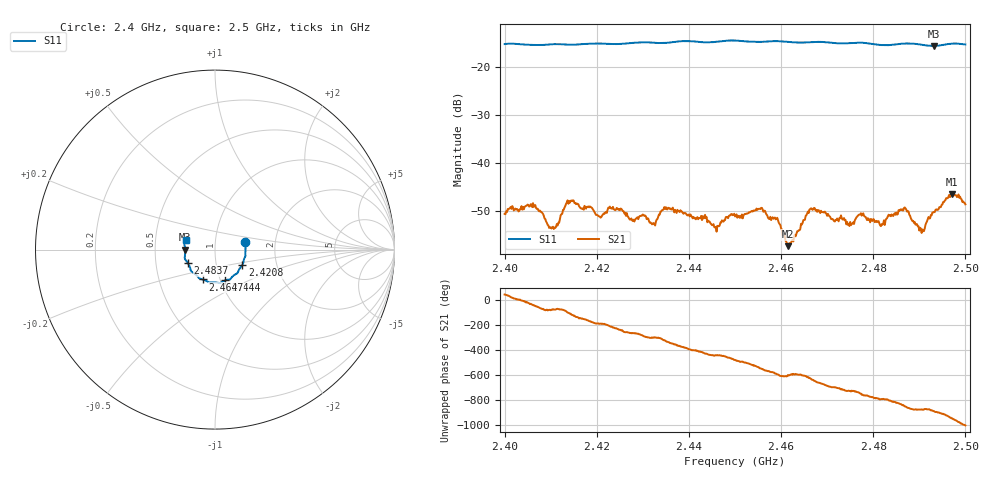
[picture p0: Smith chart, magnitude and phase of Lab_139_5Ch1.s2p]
# Hz S RI R 50
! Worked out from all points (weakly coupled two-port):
!   601 points, 2.4 GHz to 2.5 GHz, reference 50 ohm
!   highest |S21| = -46.61 dB at 2.4972 GHz (marker M1); lowest = -57.4 dB at 2.4615 GHz (marker M2)
!   lowest |S11| = -15.6 dB at 2.4932 GHz (marker M3), VSWR 1.40, Z = 35.8 - j0.0905 ohm
!   |S11| at or under -10 dB: start of sweep to end of sweep
!   S12 and S22 are empty: the file has one direction only
!   S11 on the Smith chart (normalised r, x): 2.4 GHz: 1.40, +0.12; 2.4208 GHz: 1.33, -0.24; 2.444 GHz: 1.06, -0.37; 2.4647 GHz: 0.83, -0.29; 2.4837 GHz: 0.73, -0.11; 2.5 GHz: 0.72, +0.08
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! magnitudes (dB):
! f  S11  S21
! 2.4 GHz  -15.2  -50.7
! 2.4062 GHz  -15.4  -48.4
! 2.4107 GHz  -15.3  -53.8
! 2.4138 GHz  -15.4  -48.6
! 2.4167 GHz  -15.3  -49.6
! 2.4208 GHz  -15.1  -51.5
! 2.4333 GHz  -15.0  -51.3
! 2.444 GHz  -14.9  -52.4
! 2.45 GHz  -14.5  -51.2
! 2.456 GHz  -14.8  -49.8
! 2.4592 GHz  -14.6  -51.5
! 2.4615 GHz  -14.8  -57.4
! 2.4647 GHz  -14.9  -52.6
! 2.4667 GHz  -14.8  -49.6
! 2.475 GHz  -15.0  -52.4
! 2.4833 GHz  -15.5  -50.9
! 2.4837 GHz  -15.4  -50.9
! 2.4872 GHz  -15.1  -49.8
! 2.4905 GHz  -15.4  -54.7
! 2.4932 GHz  -15.6  -50.3
! 2.4972 GHz  -15.1  -46.6
! 2.5 GHz  -15.3  -48.7
